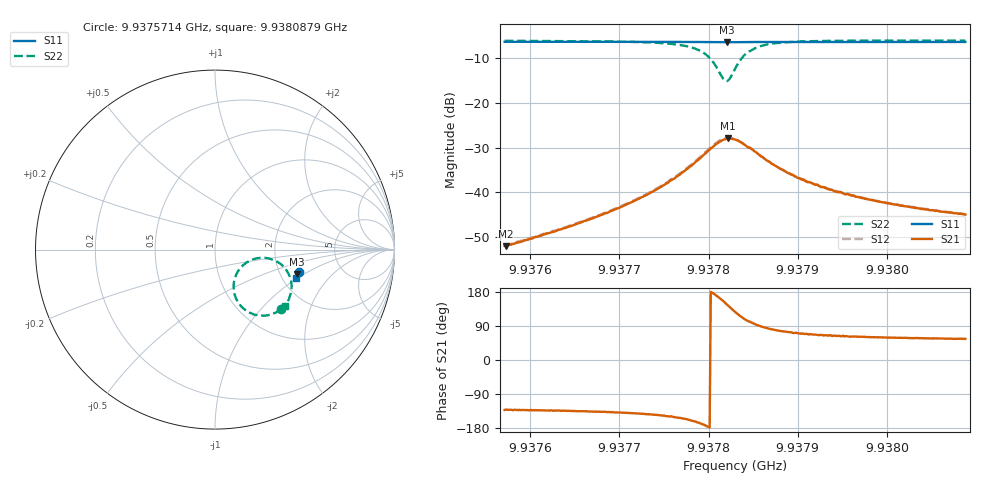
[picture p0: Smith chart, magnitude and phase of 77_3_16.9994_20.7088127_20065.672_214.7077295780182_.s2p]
#  HZ  S  RI  R  50.00
! Rohde & Schwarz Vector Network Analyzer
! Rohde-Schwarz,ZNB20-2Port,1311601062101988,3.16
! Created: UTC 3/20/2024, 10:55:34 PM
! freq[Hz]  re:S11  im:S11  re:S21  im:S21  re:S12  im:S12  re:S22  im:S22
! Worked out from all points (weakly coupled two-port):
!   401 points, 9.9375714 GHz to 9.9380879 GHz, reference 50 ohm
!   highest |S21| = -27.96 dB at 9.9378219 GHz (marker M1); lowest = -52.1 dB at 9.9375727 GHz (marker M2)
!   lowest |S11| = -6.4 dB at 9.9378206 GHz (marker M3), VSWR 2.82, Z = 123 - j43.8 ohm
!   |S11| at or under -10 dB: nowhere
!   |S22| runs from -15.1 to -6.0 dB; largest |S21 - S12| = 0.0023
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9.93757145e9  0.466 -0.1238  -0.00167 -0.00186  -0.00168 -0.00187  0.3668 -0.3324
9.93757274e9  0.466 -0.1239  -0.00164 -0.00187  -0.00171 -0.00186  0.3668 -0.3327
9.93765795e9  0.4639 -0.13  -0.00327 -0.00326  -0.00338 -0.00324  0.3477 -0.3457
9.93770185e9  0.4627 -0.1328  -0.00513 -0.0045  -0.00534 -0.00452  0.3288 -0.3551
9.93774446e9  0.4612 -0.1358  -0.00917 -0.0063  -0.00949 -0.00629  0.2914 -0.3661
9.93777287e9  0.4598 -0.138  -0.0157 -0.00716  -0.0161 -0.00709  0.2367 -0.3658
9.93779094e9  0.4584 -0.1392  -0.0236 -0.00526  -0.0245 -0.00501  0.1724 -0.3394
9.93780127e9  0.4573 -0.1395  -0.0299 -0.000835  -0.0311 0.000196  0.1273 -0.2913
9.93780902e9  0.4566 -0.1393  -0.0342 0.00617  -0.035 0.00785  0.1044 -0.2268
9.93781677e9  0.4559 -0.1386  -0.035 0.0163  -0.035 0.0185  0.117 -0.1422
9.93782064e9  0.4558 -0.1381  -0.0331 0.022  -0.0328 0.0241  0.1421 -0.1021
9.93782193e9  0.456 -0.138  -0.0322 0.0237  -0.0316 0.0256  0.153 -0.0905
9.93782451e9  0.4561 -0.1378  -0.0296 0.0268  -0.0288 0.0286  0.178 -0.0708
9.93782968e9  0.4567 -0.1374  -0.0235 0.0311  -0.0222 0.0325  0.2349 -0.0483
9.93783484e9  0.4573 -0.1374  -0.0168 0.0328  -0.0154 0.0336  0.2899 -0.0475
9.9378413e9  0.4581 -0.1377  -0.00958 0.0321  -0.00834 0.0326  0.344 -0.0664
9.93785679e9  0.459 -0.1393  -0.000171 0.0263  0.000673 0.0261  0.4061 -0.1277
9.93788778e9  0.459 -0.1423  0.00454 0.016  0.00505 0.016  0.4264 -0.2148
9.93791618e9  0.4584 -0.1446  0.00483 0.0116  0.00502 0.0115  0.4205 -0.2517
9.9379433e9  0.4578 -0.1467  0.00453 0.00901  0.00476 0.00916  0.4135 -0.2715
9.93800269e9  0.4563 -0.1509  0.00382 0.0064  0.00401 0.00639  0.4012 -0.295
9.93808791e9  0.4539 -0.1566  0.00317 0.00465  0.00329 0.00467  0.3893 -0.3118
